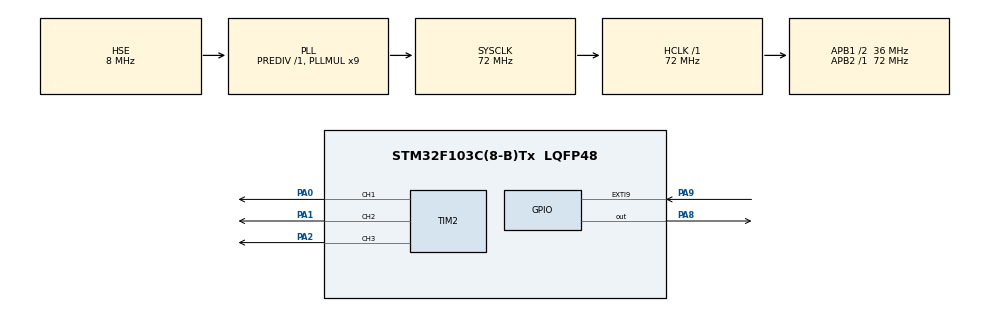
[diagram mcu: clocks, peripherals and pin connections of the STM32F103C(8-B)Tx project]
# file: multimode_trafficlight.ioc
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Mcu.Family=STM32F1
Mcu.Name=STM32F103C(8-B)Tx
Mcu.Package=LQFP48
NVIC.EXTI9_5_IRQn=true\:0\:0\:false\:false\:true\:true\:true\:true
NVIC.PriorityGroup=NVIC_PRIORITYGROUP_4
PA0-WKUP.Signal=S_TIM2_CH1_ETR
PA1.Signal=S_TIM2_CH2
PA2.Signal=S_TIM2_CH3
PA8.Signal=GPIO_Output
PA9.Signal=GPXTI9
PD0-OSC_IN.Mode=HSE-External-Oscillator
PD0-OSC_IN.Signal=RCC_OSC_IN
PD1-OSC_OUT.Mode=HSE-External-Oscillator
PD1-OSC_OUT.Signal=RCC_OSC_OUT
ProjectManager.HeapSize=0x200
ProjectManager.StackSize=0x400
ProjectManager.TargetToolchain=STM32CubeIDE
RCC.AHBFreq_Value=72000000
RCC.APB1CLKDivider=RCC_HCLK_DIV2
RCC.APB1Freq_Value=36000000
RCC.APB1TimFreq_Value=72000000
RCC.APB2Freq_Value=72000000
RCC.APB2TimFreq_Value=72000000
RCC.HCLKFreq_Value=72000000
RCC.PLLMUL=RCC_PLL_MUL9
RCC.PLLSourceVirtual=RCC_PLLSOURCE_HSE
RCC.SYSCLKFreq_VALUE=72000000
RCC.SYSCLKSource=RCC_SYSCLKSOURCE_PLLCLK
RCC.USBFreq_Value=72000000
SH.S_TIM2_CH1_ETR.0=TIM2_CH1,PWM Generation1 CH1
SH.S_TIM2_CH2.0=TIM2_CH2,PWM Generation2 CH2
SH.S_TIM2_CH3.0=TIM2_CH3,PWM Generation3 CH3
TIM2.AutoReloadPreload=TIM_AUTORELOAD_PRELOAD_ENABLE
TIM2.Channel-PWM\ Generation1\ CH1=TIM_CHANNEL_1
TIM2.Channel-PWM\ Generation2\ CH2=TIM_CHANNEL_2
TIM2.Channel-PWM\ Generation3\ CH3=TIM_CHANNEL_3
VP_TIM2_VS_ClockSourceINT.Mode=Internal
board=custom

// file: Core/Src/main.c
/* USER CODE BEGIN Header */
/**
  ******************************************************************************
  * @file           : main.c
  * @brief          : Main program body
  ******************************************************************************
  * @attention
  *
  * Copyright (c) 2022 STMicroelectronics.
  * All rights reserved.
  *
  * This software is licensed under terms that can be found in the LICENSE file
  * in the root directory of this software component.
  * If no LICENSE file comes with this software, it is provided AS-IS.
  *
  ******************************************************************************
  */
/* USER CODE END Header */
#include "main.h"

TIM_HandleTypeDef htim2;

void SystemClock_Config(void);
static void MX_GPIO_Init(void);
static void MX_TIM2_Init(void);
/* USER CODE BEGIN PFP */
int32_t PWM_DELAY = 1;
/* USER CODE END PFP */

int main(void)
{
  /* USER CODE BEGIN 1 */
    int32_t CH1_DC = 0;
  /* USER CODE END 1 */

  /* MCU Configuration--------------------------------------------------------*/

  /* Reset of all peripherals, Initializes the Flash interface and the Systick. */
  HAL_Init();

  /* Configure the system clock */
  SystemClock_Config();

  /* Initialize all configured peripherals */
  MX_GPIO_Init();
  MX_TIM2_Init();
  /* USER CODE BEGIN 2 */
  HAL_TIM_PWM_Start(&htim2, TIM_CHANNEL_1);
  HAL_TIM_PWM_Start(&htim2, TIM_CHANNEL_2);
  HAL_TIM_PWM_Start(&htim2, TIM_CHANNEL_3);

  /* USER CODE END 2 */

  /* Infinite loop */
  /* USER CODE BEGIN WHILE */
  /* Loop through 3 LEDs and stay on them depending on the PWM_Delay variable.*/
  while (1)
  {
      while(CH1_DC < 65535)
      {
          TIM2->CCR1 = CH1_DC;

          CH1_DC += 70;
          HAL_Delay(1);
      }
      HAL_Delay(PWM_DELAY);
      while(CH1_DC > 0)
      {
          TIM2->CCR1 = CH1_DC;
          CH1_DC -= 70;
          HAL_Delay(1);
      }
      while(CH1_DC < 65535)
      {
          TIM2->CCR2 = CH1_DC;
            CH1_DC += 70;
            HAL_Delay(1);
       }
       HAL_Delay(PWM_DELAY);
       while(CH1_DC > 0)
       {
           TIM2->CCR2 = CH1_DC;
           CH1_DC -= 70;
           HAL_Delay(1);
        }
       while(CH1_DC < 65535)
       {
           TIM2->CCR3 = CH1_DC;

           CH1_DC += 70;
           HAL_Delay(1);
       }
       HAL_Delay(PWM_DELAY);
       while(CH1_DC > 0)
       {
           TIM2->CCR3 = CH1_DC;
           CH1_DC -= 70;
           HAL_Delay(1);
       }

    /* USER CODE END WHILE */

  }
}

void SystemClock_Config(void)
{
  RCC_OscInitTypeDef RCC_OscInitStruct = {0};
  RCC_ClkInitTypeDef RCC_ClkInitStruct = {0};

  /** Initializes the RCC Oscillators according to the specified parameters
  * in the RCC_OscInitTypeDef structure.
  */
  RCC_OscInitStruct.OscillatorType = RCC_OSCILLATORTYPE_HSE;
  RCC_OscInitStruct.HSEState = RCC_HSE_ON;
  RCC_OscInitStruct.HSEPredivValue = RCC_HSE_PREDIV_DIV1;
  RCC_OscInitStruct.HSIState = RCC_HSI_ON;
  RCC_OscInitStruct.PLL.PLLState = RCC_PLL_ON;
  RCC_OscInitStruct.PLL.PLLSource = RCC_PLLSOURCE_HSE;
  RCC_OscInitStruct.PLL.PLLMUL = RCC_PLL_MUL9;
  if (HAL_RCC_OscConfig(&RCC_OscInitStruct) != HAL_OK)
  {
    Error_Handler();
  }

  /** Initializes the CPU, AHB and APB buses clocks
  */
  RCC_ClkInitStruct.ClockType = RCC_CLOCKTYPE_HCLK|RCC_CLOCKTYPE_SYSCLK
                              |RCC_CLOCKTYPE_PCLK1|RCC_CLOCKTYPE_PCLK2;
  RCC_ClkInitStruct.SYSCLKSource = RCC_SYSCLKSOURCE_PLLCLK;
  RCC_ClkInitStruct.AHBCLKDivider = RCC_SYSCLK_DIV1;
  RCC_ClkInitStruct.APB1CLKDivider = RCC_HCLK_DIV2;
  RCC_ClkInitStruct.APB2CLKDivider = RCC_HCLK_DIV1;

  if (HAL_RCC_ClockConfig(&RCC_ClkInitStruct, FLASH_LATENCY_2) != HAL_OK)
  {
    Error_Handler();
  }
}

static void MX_TIM2_Init(void)
{

  TIM_ClockConfigTypeDef sClockSourceConfig = {0};
  TIM_MasterConfigTypeDef sMasterConfig = {0};
  TIM_OC_InitTypeDef sConfigOC = {0};

  htim2.Instance = TIM2;
  htim2.Init.Prescaler = 0;
  htim2.Init.CounterMode = TIM_COUNTERMODE_UP;
  htim2.Init.Period = 65535;
  htim2.Init.ClockDivision = TIM_CLOCKDIVISION_DIV1;
  htim2.Init.AutoReloadPreload = TIM_AUTORELOAD_PRELOAD_ENABLE;
  if (HAL_TIM_Base_Init(&htim2) != HAL_OK)
  {
    Error_Handler();
  }
  sClockSourceConfig.ClockSource = TIM_CLOCKSOURCE_INTERNAL;
  if (HAL_TIM_ConfigClockSource(&htim2, &sClockSourceConfig) != HAL_OK)
  {
    Error_Handler();
  }
  if (HAL_TIM_PWM_Init(&htim2) != HAL_OK)
  {
    Error_Handler();
  }
  sMasterConfig.MasterOutputTrigger = TIM_TRGO_RESET;
  sMasterConfig.MasterSlaveMode = TIM_MASTERSLAVEMODE_DISABLE;
  if (HAL_TIMEx_MasterConfigSynchronization(&htim2, &sMasterConfig) != HAL_OK)
  {
    Error_Handler();
  }
  sConfigOC.OCMode = TIM_OCMODE_PWM1;
  sConfigOC.Pulse = 0;
  sConfigOC.OCPolarity = TIM_OCPOLARITY_HIGH;
  sConfigOC.OCFastMode = TIM_OCFAST_DISABLE;
  if (HAL_TIM_PWM_ConfigChannel(&htim2, &sConfigOC, TIM_CHANNEL_1) != HAL_OK)
  {
    Error_Handler();
  }
  if (HAL_TIM_PWM_ConfigChannel(&htim2, &sConfigOC, TIM_CHANNEL_2) != HAL_OK)
  {
    Error_Handler();
  }
  if (HAL_TIM_PWM_ConfigChannel(&htim2, &sConfigOC, TIM_CHANNEL_3) != HAL_OK)
  {
    Error_Handler();
  }
  HAL_TIM_MspPostInit(&htim2);

}

static void MX_GPIO_Init(void)
{
  GPIO_InitTypeDef GPIO_InitStruct = {0};

  /* GPIO Ports Clock Enable */
  __HAL_RCC_GPIOD_CLK_ENABLE();
  __HAL_RCC_GPIOA_CLK_ENABLE();

  /*Configure GPIO pin Output Level */
  HAL_GPIO_WritePin(GPIOA, GPIO_PIN_8, GPIO_PIN_RESET);

  /*Configure GPIO pin : PA8 */
  GPIO_InitStruct.Pin = GPIO_PIN_8;
  GPIO_InitStruct.Mode = GPIO_MODE_OUTPUT_PP;
  GPIO_InitStruct.Pull = GPIO_NOPULL;
  GPIO_InitStruct.Speed = GPIO_SPEED_FREQ_LOW;
  HAL_GPIO_Init(GPIOA, &GPIO_InitStruct);

  /*Configure GPIO pin : PA9 */
  GPIO_InitStruct.Pin = GPIO_PIN_9;
  GPIO_InitStruct.Mode = GPIO_MODE_IT_RISING;
  GPIO_InitStruct.Pull = GPIO_NOPULL;
  HAL_GPIO_Init(GPIOA, &GPIO_InitStruct);

  /* EXTI interrupt init*/
  HAL_NVIC_SetPriority(EXTI9_5_IRQn, 0, 0);
  HAL_NVIC_EnableIRQ(EXTI9_5_IRQn);

}

/* USER CODE BEGIN 4 */
void HAL_GPIO_EXTI_Callback(uint16_t GPIO_Pin)
{
    if(GPIO_Pin == GPIO_PIN_9) // If The INT Source Is EXTI Line9 (A9 Pin)
    {
    HAL_GPIO_TogglePin(GPIOA, GPIO_PIN_8); // Toggle The Output (LED) Pin
      if(PWM_DELAY == 0){
    	  PWM_DELAY = 1000;
      } else if (PWM_DELAY == 1000){
    	  PWM_DELAY = 5000;
      } else {
    	  PWM_DELAY = 0;
      }
    }
}
/* USER CODE END 4 */

void Error_Handler(void)
{
  __disable_irq();
  while (1)
  {
  }
}
